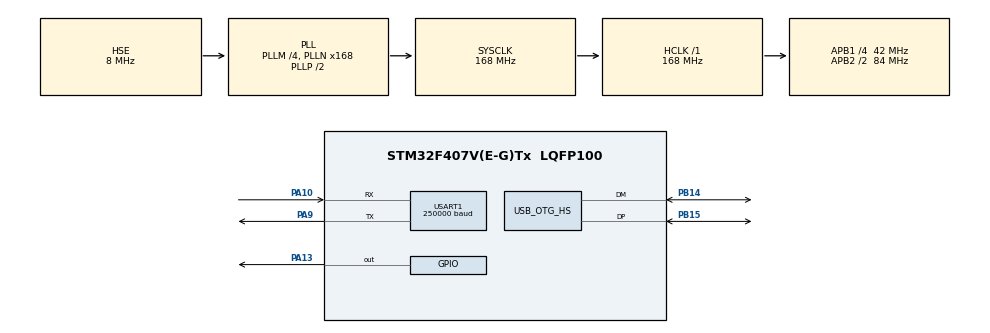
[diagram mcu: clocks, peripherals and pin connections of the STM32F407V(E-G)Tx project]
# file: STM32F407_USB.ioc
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FATFS._CODE_PAGE=437
FATFS._FS_EXFAT=1
FATFS._FS_MINIMIZE=0
FATFS._FS_NORTC=1
FATFS._MAX_SS=512
FATFS._NORTC_MDAY=14
FATFS._NORTC_MON=2
FATFS._NORTC_YEAR=2025
FATFS._USE_FASTSEEK=0
FATFS._USE_LFN=1
FATFS._USE_MKFS=0
FATFS._USE_STRFUNC=0
Mcu.Family=STM32F4
Mcu.Name=STM32F407V(E-G)Tx
Mcu.Package=LQFP100
NVIC.OTG_HS_IRQn=true\:0\:0\:false\:false\:true\:false\:true\:true
NVIC.PriorityGroup=NVIC_PRIORITYGROUP_4
PA10.Mode=Asynchronous
PA10.Signal=USART1_RX
PA13.PinState=GPIO_PIN_RESET
PA13.Signal=GPIO_Output
PA9.Mode=Asynchronous
PA9.Signal=USART1_TX
PB14.Mode=Host_FS
PB14.Signal=USB_OTG_HS_DM
PB15.Mode=Host_FS
PB15.Signal=USB_OTG_HS_DP
PH0-OSC_IN.Mode=HSE-External-Oscillator
PH0-OSC_IN.Signal=RCC_OSC_IN
PH1-OSC_OUT.Mode=HSE-External-Oscillator
PH1-OSC_OUT.Signal=RCC_OSC_OUT
ProjectManager.HeapSize=0x200
ProjectManager.StackSize=0x400
ProjectManager.TargetToolchain=STM32CubeIDE
RCC.48MHZClocksFreq_Value=48000000
RCC.AHBFreq_Value=168000000
RCC.APB1CLKDivider=RCC_HCLK_DIV4
RCC.APB1Freq_Value=42000000
RCC.APB1TimFreq_Value=84000000
RCC.APB2CLKDivider=RCC_HCLK_DIV2
RCC.APB2Freq_Value=84000000
RCC.APB2TimFreq_Value=168000000
RCC.CortexFreq_Value=168000000
RCC.HCLKFreq_Value=168000000
RCC.HSE_VALUE=8000000
RCC.HSI_VALUE=16000000
RCC.LSE_VALUE=32768
RCC.PLLM=4
RCC.PLLN=168
RCC.PLLQ=7
RCC.SYSCLKFreq_VALUE=168000000
RCC.SYSCLKSource=RCC_SYSCLKSOURCE_PLLCLK
RCC.VCOOutputFreq_Value=336000000
USART1.BaudRate=250000
USART1.VirtualMode=VM_ASYNC
USB_HOST.SW_VBUS_DRIVE_MSC_HS=true
USB_HOST.USBH_HandleTypeDef-MSC_HS=hUsbHostHS
USB_HOST.VirtualModeHS=Msc
USB_OTG_HS.VirtualMode-Host_FS=Host_FS
VP_FATFS_VS_USB.Mode=USB
VP_RTC_VS_RTC_Activate.Mode=RTC_Enabled
VP_USB_HOST_VS_USB_HOST_MSC_HS.Mode=MSC_HS
board=custom

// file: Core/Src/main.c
/* USER CODE BEGIN Header */
/**
  ******************************************************************************
  * @file           : main.c
  * @brief          : Main program body
  ******************************************************************************
  * @attention
  *
  * Copyright (c) 2025 STMicroelectronics.
  * All rights reserved.
  *
  * This software is licensed under terms that can be found in the LICENSE file
  * in the root directory of this software component.
  * If no LICENSE file comes with this software, it is provided AS-IS.
  *
  ******************************************************************************
  */

/***********************************************************************************************
* IRON 2025 smart USB bootloader for MKS Monster8 V1/V2 3D printer motherboard (STM32F407VET6) *
***********************************************************************************************/

/* USER CODE END Header */
#include "main.h"
#include "fatfs.h"
#include "usb_host.h"

/* USER CODE BEGIN Includes */

#include <stdarg.h>      // For uart_printf
#include <string.h>      // For memset

/* USER CODE END Includes */

/* USER CODE BEGIN PD */

#define DEBUG_USART_HANDLE       huart1                                // The UART to send debug info to
#define VERBOSE_MODE                                                   // Comment out to disable sending info to USART (250K baud)
#define COMPARE_BEFORE_FLASH                                           // Comment out to not compare (faster)
#define FIRMWARE_FILENAME        "firmware.bin"                        // The firmware file to flash
#define FIRMWARE_RENAME          "firmware.cur"                        // Rename the firmware after flashing

// Make sure pins don't interfere with SWD debug pins PA13 and PA14, disable when debugging
#define PROGRESS_LED_PIN         GPIO_PIN_13                           // Progress LED pin
#define PROGRESS_LED_PORT        GPIOA                                 // Progress LED flashes during flash update

#define SD_DETECT_PIN            GPIO_PIN_4                            // SD card detect pin, pin PC4
#define SD_DETECT_PORT           GPIOC                                 // SD card detect port, pin PC4
#define SD_INIT_DELAY            100U                                  // Delay to allow the SD card to settle

#define DFU_ON_DOUBLE_RESET                                            // Double reset start DFU mode, uncomment to disable
#define DFU_MAGIC_KEY            0xBA55BA11                            // Magic key to jump to DFU mode
//#define DFU_MAGIC_KEY_ADDRESS  0x2001BFFC                            // Store the magic key at end of SRAM2
#define DFU_MAGIC_KEY_ADDRESS    RTC_BKP_DR19                          // Store the magic key at RTC backup register 19

#define FLASHWORD                4U                                    // 4 bytes on STM32F4
#define FILE_BUFFER_SIZE         4096UL                                // Must be dividable by FLASHWORD
#define FLASH_MAX_SECTOR         12U                                   // Max 12 sectors on STM32F4xx (0-11)
#define FLASH_BOOTLOADER_SIZE    0x0010000UL                           // Bootloader area size
#define FLASH_USER_START_SECTOR  4U                                    // Bootloader in sector 0-3 (4 x 16KB)
#define FLASH_USER_START_ADDR    (FLASH_BASE + FLASH_BOOTLOADER_SIZE)  // Should start on a new sector

/* STM32 DFU bootloader addresses
   STM32C0   0x1FFF0000 | STM32F030x8 0x1FFFEC00 | STM32F030xC 0x1FFFD800 | STM32F03xx 0x1FFFEC00
   STM32F05  0x1FFFEC00 | STM32F07    0x1FFFC800 | STM32F09    0x1FFFD800 | STM32F10xx 0x1FFFF000
   STM32F105 0x1FFFB000 | STM32F107   0x1FFFB000 | STM32F10XL  0x1FFFE000 | STM32F2    0x1FFF0000
   STM32F3   0x1FFFD800 | STM32F4     0x1FFF0000 | STM32F7     0x1FF00000 | STM32G0    0x1FFF0000
   STM32G4   0x1FFF0000 | STM32H503   0x0BF87000 | STM32H563   0x0BF97000 | STM32H573  0x0BF97000
   STM32H7x  0x1FF09800 | STM32H7A    0x1FF0A800 | STM32H7B    0x1FF0A000 | STM32L0    0x1FF00000
   STM32L1   0x1FF00000 | STM32L4     0x1FFF0000 | STM32L5     0x0BF90000 | STM32WBA   0x0BF88000
   STM32WBX  0x1FFF0000 | STM32WL     0x1FFF0000 | STM32U5     0x0BF90000 */

#define DFU_BOOTLOADER_ADDRESS   0x1FFF0000U // STMF4xx address to jump to to activate DFU bootloader

/* ERROR CODES (FatFS errors 0-19)
 0 Succeeded
 1 A hard error occurred in the low level disk I/O layer
 2 Assertion failed
 3 The physical drive cannot work
 4 Could not find the file
 5 Could not find the path
 6 The path name format is invalid
 7 Access denied due to prohibited access or directory full
 8 Access denied due to prohibited access
 9 The file/directory object is invalid
10 The physical drive is write protected
11 The logical drive number is invalid
12 The volume has no work area
13 There is no valid FAT volume
14 The f_mkfs() aborted due to any problem
15 Could not get a grant to access the volume within defined period
16 The operation is rejected according to the file sharing policy
17 LFN working buffer could not be allocated
18 Number of open files > _FS_LOCK
19 Given parameter is invalid */

/* USER CODE END PD */

RTC_HandleTypeDef hrtc;

UART_HandleTypeDef huart1;

/* USER CODE BEGIN PV */

FATFS    FatFs;                       // FAT File System handle
FIL      fwFile;                      // File handle for the firmware file
FRESULT  result;                      // File operation result
uint32_t fileSize;                    // User application size in bytes
uint8_t  fileBuffer[FILE_BUFFER_SIZE] __attribute__((aligned(4))); // File read buffer

extern ApplicationTypeDef Appli_state;
extern HCD_HandleTypeDef* hUsbHostHS;
extern char USBHPath[];

/* USER CODE END PV */

void SystemClock_Config(void);
static void MX_GPIO_Init(void);
static void MX_USART1_UART_Init(void);
static void MX_RTC_Init(void);
void MX_USB_HOST_Process(void);

/* USER CODE BEGIN 0 */

// Calculate CRC32 of a block of data
#define CRC32_START 0xFFFFFFFF
uint32_t crc32b(uint32_t crc, uint8_t *data, uint32_t size)
{
    for (int i = 0; i < size; i++)
    {
        crc = crc ^ data[i];
        for (int j = 8; j; j--)
            crc = (crc >> 1) ^ (0xEDB88320 & -(crc & 1));
    }
    return ~crc;
}

#ifdef VERBOSE_MODE // No serial output if not in VERBOSE_MODE

// Super lightweight printf, prints to uart (DEBUG_USART_HANDLE), no floats
// Takes only about 700 bytes of program memory, printf takes 2.5K of flash space
void uart_printf(const char * fmt, ...)
{
    va_list va;
    va_start(va, fmt);
    char debug_msg[255]; // Message buffer
    char * buf = debug_msg;
    char space_zero = ' ';
    char c;
    unsigned int num;
    while ((c  = *(fmt++)))
    {
        int width = 0;
        if (c == '%')
        {
            int base = 2;
            int s_int = 0;
        MORE_FORMAT:
            c = *(fmt++); // Skip '%', check parameter
            switch (c)
            {
                case '0':
                    if (width == 0)
                        space_zero = '0';
                case '1'...'9': // Width indicators
                    width = (width * 10) + c - '0';
                goto MORE_FORMAT;

                case '%': // "%%" prints "%"
                    *(buf++) = '%';
                break;

                case 'c': // Character
                    *(buf++) = va_arg(va, int);
                break;

                case 'd': // Signed integer
                case 'i': base = 10;
                    s_int = va_arg(va, int);
                    if (s_int < 0)
                       num = -s_int;
                    else
                      num = s_int;
                  goto ATOI;
                case 'x':
                case 'X':      // Hexadecimal, base 16
                    base += 6; // 2 + 6 + 8 is base 16
                case 'u':      // Unsigned integer, base 10
                    base += 8; // 2 + 8 is base 10
                case 'b':      // Binary, base 2
                    num = va_arg(va, unsigned int);
                  ATOI:
                    char tmp[32]; // 32bit
                    char *q = tmp;

                    do {
                        int rem = '0' + (num % base);
                        if (rem > '9')
                          rem += 7; // Map to 'ABCDEF'
                        *(q++) = rem;
                    } while ((num /= base));

                    if (s_int < 0)
                      *(q++) = '-';

                    width -= q - tmp;
                    while (width-- > 0)
                      *(buf++) = space_zero;

                   while (tmp < q) // Reverse data order, "123" --> "321"
                       *(buf++) = *(--q);
                break;

                case 's':  // String
                    const char *p = va_arg(va, const char *);
                    while (*p)
                        *(buf++) = *(p++);
            }
        }
        else
            *(buf++) = c; // Copy literal characters
    }
    *buf = '\0'; // Terminate string

    va_end(va);

    HAL_UART_Transmit(&DEBUG_USART_HANDLE, (uint8_t *)debug_msg, buf - debug_msg, HAL_MAX_DELAY);
    #ifdef PROGRESS_LED_PIN
        HAL_GPIO_TogglePin(PROGRESS_LED_PORT, PROGRESS_LED_PIN); // Flash LED
    #endif
}

#else

    #ifdef PROGRESS_LED_PIN
        void uart_printf(const char * fmt, ...) { HAL_GPIO_TogglePin(PROGRESS_LED_PORT, PROGRESS_LED_PIN); } // Flash LED
    #else
        void uart_printf(const char * fmt, ...) { }
    #endif

#endif

#ifdef DFU_ON_DOUBLE_RESET

    #if (DFU_MAGIC_KEY_ADDRESS < 0xFF)
          // Use RTC backup register
        void set_magic_key(int value) {
            HAL_PWR_EnableBkUpAccess();
            HAL_RTCEx_BKUPWrite(&hrtc, DFU_MAGIC_KEY_ADDRESS, value);
            HAL_PWR_DisableBkUpAccess();
        }
    #else
        // Use memory address
        #define set_magic_key(a) (*(__IO uint32_t *)DFU_MAGIC_KEY_ADDRESS = a)
    #endif

#else // No DFU on double reset

    #define set_magic_key(a)

#endif

// Return value: 0=equal, 1=different, 2=error
uint32_t compareFlashToFile(void)
{
    uint32_t i = 0, j;
    int result = f_lseek(&fwFile, 0); // Not strictly needed
    uint32_t file_crc32 = ~CRC32_START; // Invert here, will be undone in crc32b
    int difference_found = 0;
    int different = 0;
    unsigned int bytesRead;

    while ((i < fileSize) && !result)
    {
        result = f_read(&fwFile, fileBuffer, FILE_BUFFER_SIZE, &bytesRead);
        file_crc32 = crc32b(~file_crc32, fileBuffer, bytesRead);
        j = 0;
        while ((j < bytesRead) && !result)
        {
            if (*(__IO char*)(FLASH_USER_START_ADDR + i + j) != fileBuffer[j])
                difference_found = 1;
            j++;
        }
        if (difference_found)
        {
            uart_printf("*");
            different = 1;
            difference_found = 0; // Reset block different status
        }
        else
            uart_printf("=");

        i += bytesRead;
    }

    if (result)
    {
        uart_printf(" Error\r\nFile read error: %u\r\n", result);
        return 2;
    }
    else
    if (different)
        uart_printf(" Different\r\nFlash contents differs, update is required\r\n");
    else
    {
        uart_printf(" Equal\r\nFlash contents is the same, update is not required\r\n");
        uart_printf("Flash CRC32: 0x%x\r\n", file_crc32);
    }

    return different; // 0=equal, 1=different, 2=error
}

int CopyFileToFlashMemory(void)
{
/* STM32F4xx FLASH SECTORS
    Sector  0 0x0800 0000 - 0x0800 3FFF  16KB
    Sector  1 0x0800 4000 - 0x0800 7FFF  16KB
    Sector  2 0x0800 8000 - 0x0800 BFFF  16KB
    Sector  3 0x0800 C000 - 0x0800 FFFF  16KB
    Sector  4 0x0801 0000 - 0x0801 FFFF  64KB
    Sector  5 0x0802 0000 - 0x0803 FFFF 128KB
    Sector  6 0x0804 0000 - 0x0805 FFFF 128KB
    Sector  7 0x0804 0000 - 0x0805 FFFF 128KB
    // -- 512KB -----------------------------
    Sector  8 0x0804 0000 - 0x0805 FFFF 128KB
    Sector  9 0x0804 0000 - 0x0805 FFFF 128KB
    Sector 10 0x0804 0000 - 0x0805 FFFF 128KB
    Sector 11 0x080E 0000 - 0x080F FFFF 128KB */

    uint32_t flash_sector_size = 0x10000U;

    // Erase required sectors to fit the user application
    uint32_t erasedSize = 0;
    uint32_t sector = FLASH_USER_START_SECTOR;

    HAL_FLASH_Unlock();
    FRESULT result = f_lseek(&fwFile, 0);

    while ((erasedSize < fileSize) && !result)
    {
        uart_printf("Erasing flash sector %u  Sector size: %3uKB\r\n", sector, flash_sector_size >> 10);
        FLASH_Erase_Sector(sector, FLASH_VOLTAGE_RANGE_3);

        erasedSize += flash_sector_size;
        flash_sector_size = 0x20000; // The remaining sectors are 128KB
        sector++;
    }

    uart_printf("Flashing user application to 0x0%x\r\n", FLASH_USER_START_ADDR);
    uint32_t byteCounter = 0;
    uint32_t i;
    uint32_t file_crc32 = ~CRC32_START; // Invert here, will be undone in crc32b
    unsigned int bytesRead;

    while ((byteCounter < fileSize) && !result)
    {
        result = f_read(&fwFile, fileBuffer, FILE_BUFFER_SIZE, &bytesRead);
        file_crc32 = crc32b(~file_crc32, fileBuffer, bytesRead);

        if (bytesRead < FILE_BUFFER_SIZE) // Add some "erased flash" bytes to the buffer
            memset(fileBuffer + bytesRead, 0xFF, (FILE_BUFFER_SIZE - bytesRead) % FLASHWORD);

        // Write the data to flash memory
        i = 0;
        while ((i < bytesRead) && !result)
        {
            result = HAL_FLASH_Program(FLASH_TYPEPROGRAM_WORD, FLASH_USER_START_ADDR + byteCounter + i, *((volatile uint32_t*)(fileBuffer + i)));
            i += FLASHWORD;
        }
        byteCounter += bytesRead;
        uart_printf("=");
    }

    HAL_FLASH_Lock();

    if (!result) // All went OK, verify flash contents
    {
        uint32_t flash_crc32 = crc32b(CRC32_START, (uint8_t*)FLASH_USER_START_ADDR, fileSize);
        if (file_crc32 != flash_crc32)
        {
            uart_printf("* Verify failed\r\n");
            result = 1; // Signal error
        }
        else
            uart_printf(" Verify OK\r\n");

        uart_printf("Flash CRC32: 0x%x\r\n", flash_crc32);
    }
    else
        uart_printf(" Failed: %u\r\n", result);

    return result;
}

/* USER CODE END 0 */

int main(void)
{

  /* MCU Configuration--------------------------------------------------------*/

  /* Reset of all peripherals, Initializes the Flash interface and the Systick. */
  HAL_Init();

  /* Configure the system clock */
  SystemClock_Config();

  /* Initialize all configured peripherals */
  MX_GPIO_Init();
  MX_USART1_UART_Init();
  MX_FATFS_Init();
  MX_USB_HOST_Init();
  MX_RTC_Init();
  /* USER CODE BEGIN 2 */

  // Enable all the GPIO clocks for the configurable pin below
  SET_BIT(RCC->AHB1ENR, RCC_AHB1ENR_GPIOAEN | RCC_AHB1ENR_GPIOBEN | RCC_AHB1ENR_GPIOCEN | RCC_AHB1ENR_GPIODEN | RCC_AHB1ENR_GPIOEEN);

#ifdef DFU_ON_DOUBLE_RESET

#if (DFU_MAGIC_KEY_ADDRESS < 0xFF)
    if (HAL_RTCEx_BKUPRead(&hrtc, DFU_MAGIC_KEY_ADDRESS) == DFU_MAGIC_KEY) // Detect memory marker
#else
    if (*(__IO uint32_t*)DFU_MAGIC_KEY_ADDRESS == DFU_MAGIC_KEY) // Detect marker in RTC backup register
#endif
    {
        set_magic_key(0);
        MX_GPIO_Init();
        MX_USART1_UART_Init();
        uart_printf("\r\nStarting DFU mode\r\n");
        HAL_Delay(25);

        __disable_irq(); // Disable all interrupts
        HAL_SuspendTick(); // Suspend tick interrupt
        SysTick->CTRL = SysTick->LOAD = SysTick->VAL = 0;
        RCC->CIR = 0;     // Disable clock interrupts
        HAL_RCC_DeInit(); // Set the clock to the default state
        HAL_DeInit();
        // Clear Interrupt Enable Register & Interrupt Pending Register
        uint8_t cnt = (sizeof(NVIC->ICER) / sizeof(*NVIC->ICER));
        for (int i = 0; i < cnt; i++) {
            NVIC->ICER[i] = 0xFFFFFFFF;
            NVIC->ICPR[i] = 0xFFFFFFFF;
        }
        __enable_irq();

        uint32_t *vtor = (void*)DFU_BOOTLOADER_ADDRESS;
        SCB->VTOR = (uint32_t)vtor;

        // Make the jump
        asm volatile("MSR msp,%0\nbx %1" : : "r"(vtor[0]), "r"(vtor[1]));
    }

    set_magic_key(DFU_MAGIC_KEY);

    // Wait for 2nd reset while DFU marker is set
    HAL_Delay(500);

    set_magic_key(0);

#endif

  /* USER CODE END 2 */

  /* Infinite loop */
  /* USER CODE BEGIN WHILE */

  uart_printf("\r\nUSB bootloader started\r\n");

  #ifdef PROGRESS_LED_PIN
      GPIO_InitTypeDef GPIO_InitStruct = { 0 };
      GPIO_InitStruct.Pin = PROGRESS_LED_PIN;
      GPIO_InitStruct.Mode = GPIO_MODE_OUTPUT_PP;
      GPIO_InitStruct.Pull = GPIO_NOPULL;
      GPIO_InitStruct.Speed = GPIO_SPEED_FREQ_LOW;
      HAL_GPIO_Init(PROGRESS_LED_PORT, &GPIO_InitStruct);
  #endif

  while (1)
  {
    /* USER CODE END WHILE */
    MX_USB_HOST_Process();

    /* USER CODE BEGIN 3 */

    // Timeout counter
    if (HAL_GetTick() > 2500) // Requires about 1200-2200ms
        goto USER_APP;

    if (Appli_state == APPLICATION_READY)
    {
        // Mount the FAT file system
        result = f_mount(&FatFs, (TCHAR const*)USBHPath, 1);
        if (result)
        {
            if (result == 3)
                uart_printf("No medium mounted, status: 3\r\n");
            else
                uart_printf("ERROR: USB mounting failed, not FAT/exFAT formatted? Error: %u\r\n", result);

            goto USER_APP;
        }

        uart_printf("TIME: %u\r\n", HAL_GetTick());

        uart_printf(FIRMWARE_FILENAME);
        if (f_open(&fwFile, FIRMWARE_FILENAME, FA_READ))
        {
            uart_printf(" not found\r\n");
            goto USER_APP;
        }
        uart_printf(" opened successfully\r\n");

        fileSize = f_size(&fwFile);

        // Get device flash size from memory (in KBytes)
        __IO uint16_t flashSize = *(uint32_t*)(FLASHSIZE_BASE);
        uart_printf("Total flash memory size: %uKB\r\n", flashSize);

        uint32_t freeFlash = (flashSize << 10) - FLASH_BOOTLOADER_SIZE;
        uart_printf("Free flash memory space: %uKB\r\n", freeFlash >> 10);

        uart_printf("Firmware update size: %uKB\r\n", fileSize >> 10);

        if (fileSize > freeFlash)
        {
            uart_printf("ERROR: Insufficient free flash memory space, aborting\r\n");
            f_close(&fwFile); // Not strictly needed, comment out to save some flash space
            goto USER_APP;
        }

        #ifdef COMPARE_BEFORE_FLASH

        uart_printf("Comparing file to flash memory contents\r\n");

            result = compareFlashToFile();
            if (result > 1) // File read error
                goto USER_APP;

            if (result == 1) // Flash is different, update required
                result = CopyFileToFlashMemory();

        #else

            result = CopyFileToFlashMemory();

        #endif

        f_close(&fwFile); // Must close file before renaming

        #ifdef FIRMWARE_RENAME
            if (!result) // Only rename/delete if file was flashed successfully
            {
                f_unlink(FIRMWARE_RENAME); // Delete the old firmware (if present)

                if (f_rename(FIRMWARE_FILENAME, FIRMWARE_RENAME) != FR_OK)
                {
                    uart_printf("ERROR: Failed to rename firmware file to ");
                    result = 1; // Signal error
                }
                else
                    uart_printf("Renaming file to ");

                uart_printf(FIRMWARE_RENAME "\r\n");
            }

        #endif

USER_APP:

        set_magic_key(0); // IMPORTANT, KEEP HERE

        f_mount(NULL, "", 0); // Unmount USB, not strictly needed, comment out to save some flash

        if (*(__IO uint32_t*)FLASH_USER_START_ADDR != 0xFFFFFFFF) // Check if flash is empty
        {
            uart_printf("Starting user application at 0x0%x\r\n", FLASH_USER_START_ADDR);
            HAL_Delay(25);

            __disable_irq(); // Disable all interrupts
            HAL_SuspendTick(); // Suspend tick interrupt
            SysTick->CTRL = SysTick->LOAD = SysTick->VAL = 0;
            RCC->CIR = 0;     // Disable clock interrupts
            HAL_RCC_DeInit(); // Set the clock to the default state
            HAL_DeInit();
            // Clear Interrupt Enable Register & Interrupt Pending Register
            uint8_t cnt = (sizeof(NVIC->ICER) / sizeof(*NVIC->ICER));
            for (int i = 0; i < cnt; i++) {
                NVIC->ICER[i] = 0xFFFFFFFF;
                NVIC->ICPR[i] = 0xFFFFFFFF;
            }
            __enable_irq();

            uint32_t *vtor = (void*)FLASH_USER_START_ADDR;
            SCB->VTOR = (uint32_t)vtor;

            // Make the jump
            asm volatile("MSR msp,%0\nbx %1" : : "r"(vtor[0]), "r"(vtor[1]));
        }

        uart_printf("No user application found at 0x0%x, done!\r\n", FLASH_USER_START_ADDR);

        while (1)
        { // Start slow LED flash
            #ifdef PROGRESS_LED_PIN
                HAL_GPIO_TogglePin(PROGRESS_LED_PORT, PROGRESS_LED_PIN);
                HAL_Delay(1500);
            #endif
        };
    }

  }

  /* USER CODE END 3 */
}

void SystemClock_Config(void)
{
  RCC_OscInitTypeDef RCC_OscInitStruct = {0};
  RCC_ClkInitTypeDef RCC_ClkInitStruct = {0};

  /** Configure the main internal regulator output voltage
  */
  __HAL_RCC_PWR_CLK_ENABLE();
  __HAL_PWR_VOLTAGESCALING_CONFIG(PWR_REGULATOR_VOLTAGE_SCALE1);

  /** Initializes the RCC Oscillators according to the specified parameters
  * in the RCC_OscInitTypeDef structure.
  */
  RCC_OscInitStruct.OscillatorType = RCC_OSCILLATORTYPE_LSI|RCC_OSCILLATORTYPE_HSE;
  RCC_OscInitStruct.HSEState = RCC_HSE_ON;
  RCC_OscInitStruct.LSIState = RCC_LSI_ON;
  RCC_OscInitStruct.PLL.PLLState = RCC_PLL_ON;
  RCC_OscInitStruct.PLL.PLLSource = RCC_PLLSOURCE_HSE;
  RCC_OscInitStruct.PLL.PLLM = 4;
  RCC_OscInitStruct.PLL.PLLN = 168;
  RCC_OscInitStruct.PLL.PLLP = RCC_PLLP_DIV2;
  RCC_OscInitStruct.PLL.PLLQ = 7;
  if (HAL_RCC_OscConfig(&RCC_OscInitStruct) != HAL_OK)
  {
    Error_Handler();
  }

  /** Initializes the CPU, AHB and APB buses clocks
  */
  RCC_ClkInitStruct.ClockType = RCC_CLOCKTYPE_HCLK|RCC_CLOCKTYPE_SYSCLK
                              |RCC_CLOCKTYPE_PCLK1|RCC_CLOCKTYPE_PCLK2;
  RCC_ClkInitStruct.SYSCLKSource = RCC_SYSCLKSOURCE_PLLCLK;
  RCC_ClkInitStruct.AHBCLKDivider = RCC_SYSCLK_DIV1;
  RCC_ClkInitStruct.APB1CLKDivider = RCC_HCLK_DIV4;
  RCC_ClkInitStruct.APB2CLKDivider = RCC_HCLK_DIV2;

  if (HAL_RCC_ClockConfig(&RCC_ClkInitStruct, FLASH_LATENCY_5) != HAL_OK)
  {
    Error_Handler();
  }
}

static void MX_RTC_Init(void)
{

  /** Initialize RTC Only
  */
  hrtc.Instance = RTC;
  hrtc.Init.HourFormat = RTC_HOURFORMAT_24;
  hrtc.Init.AsynchPrediv = 127;
  hrtc.Init.SynchPrediv = 255;
  hrtc.Init.OutPut = RTC_OUTPUT_DISABLE;
  hrtc.Init.OutPutPolarity = RTC_OUTPUT_POLARITY_HIGH;
  hrtc.Init.OutPutType = RTC_OUTPUT_TYPE_OPENDRAIN;
  if (HAL_RTC_Init(&hrtc) != HAL_OK)
  {
    Error_Handler();
  }

}

static void MX_USART1_UART_Init(void)
{

  huart1.Instance = USART1;
  huart1.Init.BaudRate = 250000;
  huart1.Init.WordLength = UART_WORDLENGTH_8B;
  huart1.Init.StopBits = UART_STOPBITS_1;
  huart1.Init.Parity = UART_PARITY_NONE;
  huart1.Init.Mode = UART_MODE_TX_RX;
  huart1.Init.HwFlowCtl = UART_HWCONTROL_NONE;
  huart1.Init.OverSampling = UART_OVERSAMPLING_16;
  if (HAL_UART_Init(&huart1) != HAL_OK)
  {
    Error_Handler();
  }

}

static void MX_GPIO_Init(void)
{
  GPIO_InitTypeDef GPIO_InitStruct = {0};

  /* GPIO Ports Clock Enable */
  __HAL_RCC_GPIOH_CLK_ENABLE();
  __HAL_RCC_GPIOB_CLK_ENABLE();
  __HAL_RCC_GPIOA_CLK_ENABLE();

  /*Configure GPIO pin Output Level */
  HAL_GPIO_WritePin(GPIOA, GPIO_PIN_13, GPIO_PIN_RESET);

  /*Configure GPIO pin : PA13 */
  GPIO_InitStruct.Pin = GPIO_PIN_13;
  GPIO_InitStruct.Mode = GPIO_MODE_OUTPUT_PP;
  GPIO_InitStruct.Pull = GPIO_NOPULL;
  GPIO_InitStruct.Speed = GPIO_SPEED_FREQ_LOW;
  HAL_GPIO_Init(GPIOA, &GPIO_InitStruct);

}

void Error_Handler(void)
{
  /* USER CODE BEGIN Error_Handler_Debug */
  /* User can add his own implementation to report the HAL error return state */

  uart_printf("Error handler called!!!\r\n"); // Not strictly required
  HAL_Delay(100);

  __disable_irq();
  while (1)
  {
  }
  /* USER CODE END Error_Handler_Debug */
}
